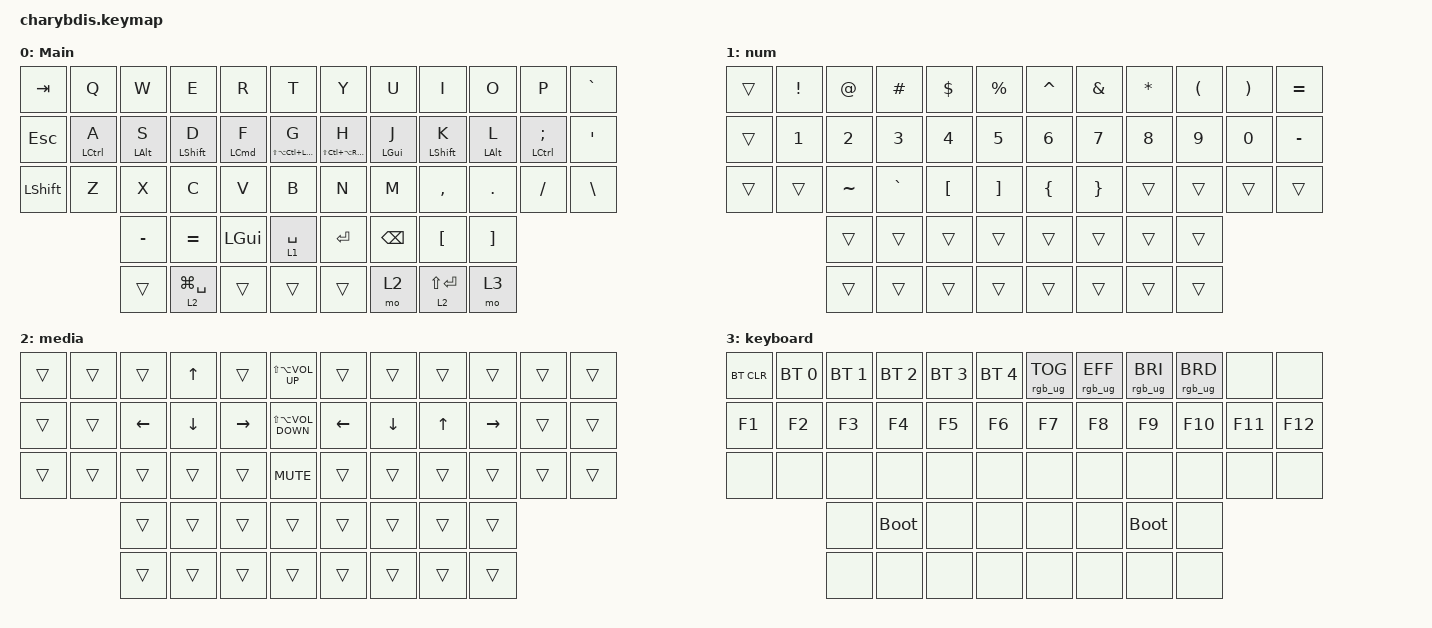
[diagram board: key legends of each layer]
/*
 * Copyright (c) 2020 The ZMK Contributors
 *
 * SPDX-License-Identifier: MIT1
 */

#include <behaviors.dtsi>
#include <dt-bindings/zmk/bt.h>
#include <dt-bindings/zmk/keys.h>
#include <dt-bindings/zmk/rgb.h>

&mt { flavor = "tap-preferred"; };

/ {
    macros {
        To1_macro: To1_macro {
            compatible = "zmk,behavior-macro";
            label = "To1_macro";
            #binding-cells = <0>;
            bindings = <&rgb_ug RGB_EFF &rgb_ug RGB_COLOR_HSB(128,100,50) &to 0>;
        };

        To1_macro_A: To1_macro_A {
            compatible = "zmk,behavior-macro";
            label = "To1_macro_A";
            #binding-cells = <0>;
            bindings = <&rgb_ug RGB_COLOR_HSB(128,100,50) &to 0>;
        };

        To0_macro: To0_macro {
            compatible = "zmk,behavior-macro";
            label = "To0_macro";
            #binding-cells = <0>;
            bindings = <&rgb_ug RGB_EFR &to 0>;
        };

        To2_macro_A: To2_macro_A {
            compatible = "zmk,behavior-macro";
            label = "To2_macro_A";
            #binding-cells = <0>;
            bindings = <&rgb_ug RGB_COLOR_HSB(250,100,50) &to 2>;
        };

        To2_macro: To2_macro {
            compatible = "zmk,behavior-macro";
            label = "To2_macro";
            #binding-cells = <0>;
            bindings = <&rgb_ug RGB_EFF &rgb_ug RGB_COLOR_HSB(250,100,50) &to 2>;
        };

        To3_macro: To_3 {
            compatible = "zmk,behavior-macro";
            label = "TO_3";
            #binding-cells = <0>;
            bindings = <&rgb_ug RGB_EFF &rgb_ug RGB_COLOR_HSB(360,100,46) &to 3>;
        };
    };

    behaviors {
        th1_space: th1_space {
            compatible = "zmk,behavior-hold-tap";
            label = "TH1_SPACE";
            bindings = <&To1_macro>, <&kp>;

            #binding-cells = <2>;
            flavor = "tap-preferred";
            tapping-term-ms = <180>;
        };

        th2_cmdspace: th2_cmdspace {
            compatible = "zmk,behavior-hold-tap";
            label = "TH2_CMDSPACE";
            bindings = <&none>, <&none>;

            #binding-cells = <2>;
            tapping-term-ms = <180>;
            flavor = "tap-preferred";
        };
    };

    keymap {
        compatible = "zmk,keymap";

        Main {
            bindings = <
&kp TAB    &kp Q        &kp W           &kp E             &kp R         &kp T                     &kp Y                        &kp U           &kp I             &kp O           &kp P                &kp GRAVE
&kp ESC    &mt LCTRL A  &mt LEFT_ALT S  &mt LEFT_SHIFT D  &mt LCMD F    &mt LS(LA(LC(LGUI))) G    &mt LS(LC(LA(RIGHT_GUI))) H  &mt LEFT_GUI J  &mt LEFT_SHIFT K  &mt LEFT_ALT L  &mt LCTRL SEMICOLON  &kp APOS
&kp LSHFT  &kp Z        &kp X           &kp C             &kp V         &kp B                     &kp N                        &kp M           &kp COMMA         &kp DOT         &kp FSLH             &kp BSLH
                        &kp MINUS       &kp EQUAL         &kp LEFT_GUI  &lt 1 SPACE               &kp ENTER                    &kp BACKSPACE   &kp LBKT          &kp RBKT
                        &trans          &lt 2 LG(SPACE)   &trans        &trans                    &trans                       &mo 2           &lt 2 LS(ENTER)   &mo 3
            >;
        };

        num {
            bindings = <
&trans  &kp EXCLAMATION  &kp AT_SIGN  &kp HASH   &kp DOLLAR        &kp PERCENT          &kp CARET       &kp AMPERSAND    &kp ASTERISK  &kp LEFT_PARENTHESIS  &kp RIGHT_PARENTHESIS  &kp EQUAL
&trans  &kp N1           &kp N2       &kp N3     &kp N4            &kp N5               &kp N6          &kp N7           &kp N8        &kp N9                &kp N0                 &kp MINUS
&trans  &trans           &kp TILDE    &kp GRAVE  &kp LEFT_BRACKET  &kp RIGHT_BRACKET    &kp LEFT_BRACE  &kp RIGHT_BRACE  &trans        &trans                &trans                 &trans
                         &trans       &trans     &trans            &trans               &trans          &trans           &trans        &trans
                         &trans       &trans     &trans            &trans               &trans          &trans           &trans        &trans
            >;
        };

        media {
            bindings = <
&trans  &trans  &trans          &kp UP_ARROW    &trans     &kp LS(LA(C_VOLUME_UP))      &trans    &trans          &trans        &trans     &trans  &trans
&trans  &trans  &kp LEFT_ARROW  &kp DOWN_ARROW  &kp RIGHT  &kp LS(LA(C_VOLUME_DOWN))    &kp LEFT  &kp DOWN_ARROW  &kp UP_ARROW  &kp RIGHT  &trans  &trans
&trans  &trans  &trans          &trans          &trans     &kp K_MUTE                   &trans    &trans          &trans        &trans     &trans  &trans
                &trans          &trans          &trans     &trans                       &trans    &trans          &trans        &trans
                &trans          &trans          &trans     &trans                       &trans    &trans          &trans        &trans
            >;
        };

        keyboard {
            bindings = <
&bt BT_CLR  &bt BT_SEL 0  &bt BT_SEL 1  &bt BT_SEL 2  &bt BT_SEL 3  &bt BT_SEL 4    &rgb_ug RGB_TOG  &rgb_ug RGB_EFF  &rgb_ug RGB_BRI  &rgb_ug RGB_BRD  &none    &none
&kp F1      &kp F2        &kp F3        &kp F4        &kp F5        &kp F6          &kp F7           &kp F8           &kp F9           &kp F10          &kp F11  &kp F12
&none       &none         &none         &none         &none         &none           &none            &none            &none            &none            &none    &none
                          &none         &bootloader   &none         &none           &none            &none            &bootloader      &none
                          &none         &none         &none         &none           &none            &none            &none            &none
            >;
        };
    };
};
